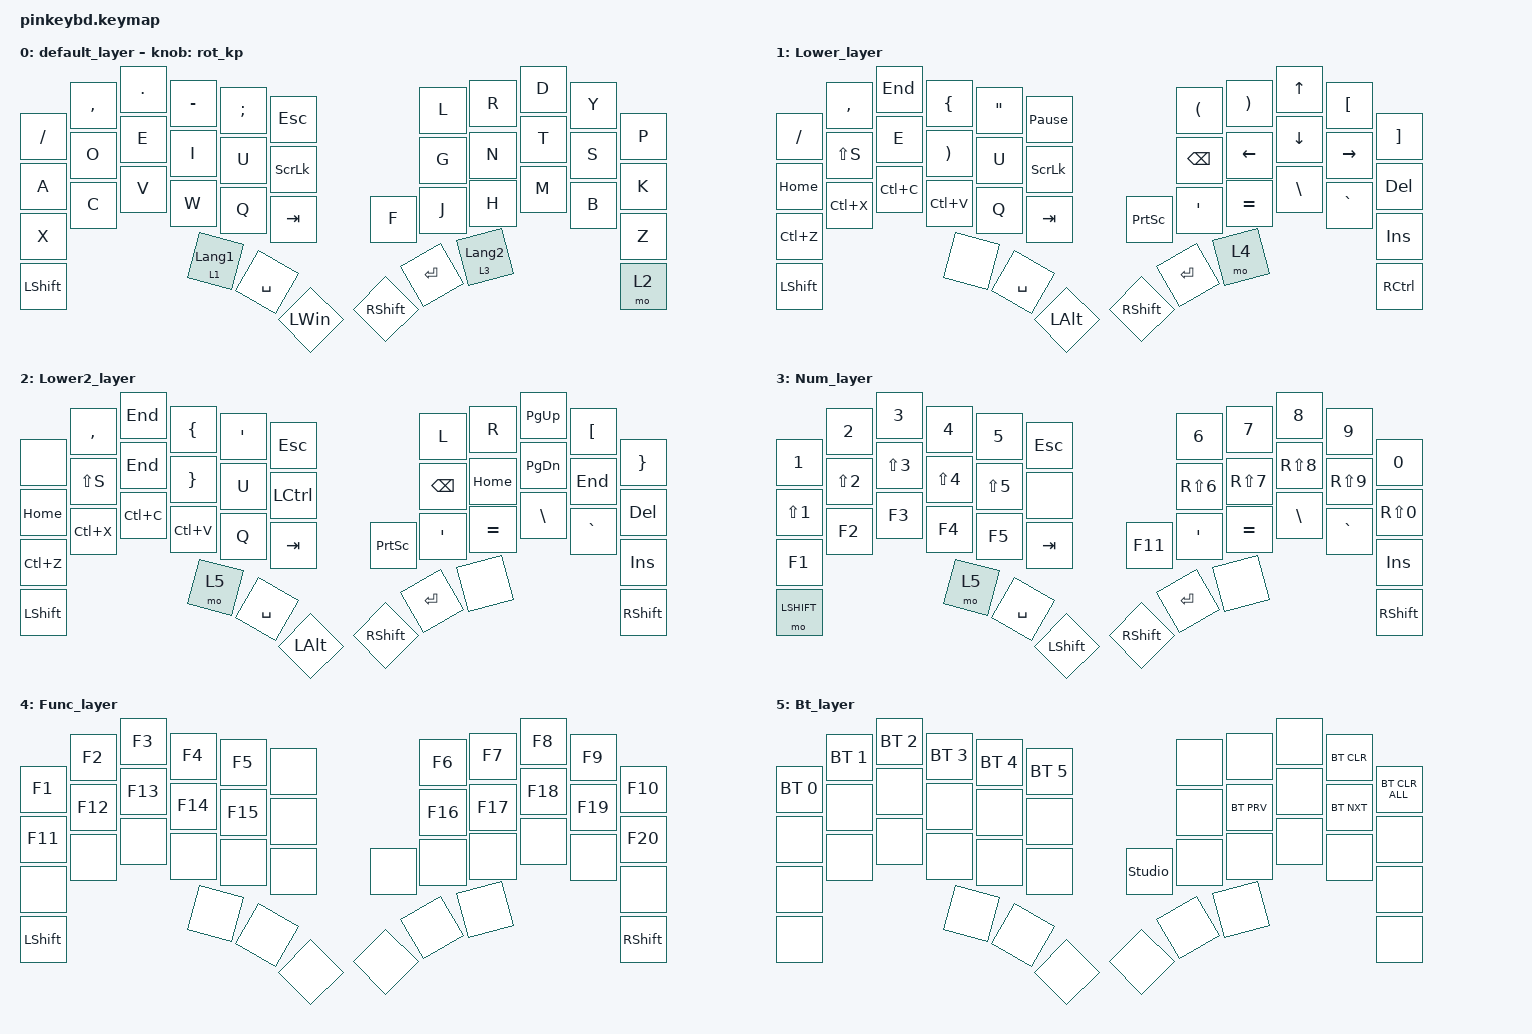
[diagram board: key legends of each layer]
#include <behaviors.dtsi>
#include <behaviors/runtime-sensor-rotate.dtsi>
#include <dt-bindings/zmk/bt.h>
#include <dt-bindings/zmk/keys.h>

#define ZMK_POINTING_DEFAULT_SCRL_VAL 80

&lt {
    tapping-term-ms = <140>;
};

/ {
    behaviors {
        rot_kp: runtime_sensor_rotate_kp {
            compatible = "zmk,behavior-runtime-sensor-rotate";
            #sensor-binding-cells = <0>;
            tap-ms = <5>;
            cw-binding = <&kp PG_DN>;
            ccw-binding = <&kp PG_UP>;
        };
    };

    keymap {
        compatible = "zmk,keymap";

            // ---------------------------------------------------------------------------------------------------------------------------------------------------------------------------------------------------------------
            // |        /       |       ,       |       .       |      -        |      ;       |    ESC         |                   |           |       L      |       R       |       D       |       Y       |      P      |
            // |        A       |       O       |       E       |      I        |      U       |    SCROLLLOCK  |                   |           |       G      |       N       |       T       |       S       |      K      |
            // |        X       |       C       |       V       |      W        |      Q       |    TAB         |                   |     F     |       J      |       H       |       M       |       B       |      Z      |
            // |    L_SHIFT     |               |               |   LOWER / Jp  |    Space     |    LEFT_WIN    |                   |  R_SHIFT  |      ENTER   |  LOWER2 / Ja  |               |               |   FUN_L     |
            // ---------------------------------------------------------------------------------------------------------------------------------------------------------------------------------------------------------------
        default_layer {
            bindings = <
                &kp FSLH     &kp COMMA    &kp DOT      &kp MINUS    &kp SEMI     &kp ESC                            &kp L        &kp R        &kp D        &kp Y        &kp P
                &kp A        &kp O        &kp E        &kp I        &kp U        &kp SCROLLLOCK                     &kp G        &kp N        &kp T        &kp S        &kp K
                &kp X        &kp C        &kp V        &kp W        &kp Q        &kp TAB                            &kp J        &kp H        &kp M        &kp B        &kp Z
                &kp LSHIFT                             &lt 1 LANGUAGE_1 &kp SPACE &kp LEFT_WIN       &kp F      &kp RSHIFT   &kp ENTER    &lt 3 LANGUAGE_2      &mo 2
            >;
            sensor-bindings = <&rot_kp>;
        };
    
            // ----------------------------------------------------------------------------------------------------------------------------------------------------------------------------------------------------------------
            // |    /           |       ,       |       END     |     （        |      ”        |    PAUSE_BREAK|                  |            |      （       |       ）     |        ↑      |        [      |      ]      |
            // |    HOME        |       C_SAVE  |       END     |       ）      |       U       |    SCROLLLOCK |                  |            |   Backspace   |       ←      |        ↓      |        →      |     DEL     |
            // |    UNDO        |       CUT     |       COPY    |       PASTE   |       Q       |    TAB        |                  |   PSCRN    |    ' / "      |    = / +     |    \ / |      |    ` / ~      |    INS      |
            // |    L_SHIFT     |               |               |       none    |    SPACE      |    LALT       |                  |   RSHIFT   |   ENTER       |       FUN_L  |               |               |    RCTRL    |
            // ----------------------------------------------------------------------------------------------------------------------------------------------------------------------------------------------------------------
        Lower_layer {
            bindings = <
                &kp FSLH    &kp COMMA    &kp END        &kp LEFT_BRACE  &kp DOUBLE_QUOTES   &kp PAUSE_BREAK                 &kp LPAR          &kp RPAR      &kp UP       &kp LBKT     &kp RBKT
                &kp HOME    &kp LS(S)    &kp E          &kp RPAR        &kp U               &kp SCROLLLOCK                  &kp BSPC          &kp LEFT      &kp DOWN     &kp RIGHT    &kp DEL
                &kp LC(Z)   &kp LC(X)    &kp LC(C)      &kp LC(V)       &kp Q               &kp TAB                         &kp APOS          &kp EQUAL     &kp BSLH     &kp GRAVE    &kp INS
                &kp LSHIFT                              &none           &kp SPACE           &kp LALT            &kp PSCRN   &kp RSHIFT        &kp ENTER     &mo 4                &kp RCTRL
            >;  
        };

            // -------------------------------------------------------------------------------------------------------------------------------------------------------------------------------------------------------------
            // |    /           |       ,        |       END     |       {       |       ’      |    ESC        |                  |            |      L      |      R         |    PG_UP      |     {       |      }      |
            // |    HOME        |       C_SAVE   |       END     |       }       |       U      |    LCTRL      |                  |            |  Backspace  |    HOME        |    PG_DN      |    END      |    DEL      |
            // |    UNDO        |       CUT      |       COPY    |       PASTE   |       Q      |    TAB        |                  |      F     |    ' / "    |    = / +       |    \ / |      |    ` / ~    |    INS      |
            // |    L_SHIFT     |                |               |       BT_L    |      SPACE   |    LALT       |                  |   ENTER    |    none     |   R_SHIFT      |               |             |   R_SHIFT   |
            // -------------------------------------------------------------------------------------------------------------------------------------------------------------------------------------------------------------
        Lower2_layer {
            bindings = <
                &none        &kp COMMA    &kp END      &kp LEFT_BRACE       &kp SINGLE_QUOTE    &kp ESC                             &kp L           &kp R        &kp PG_UP       &kp LBKT       &kp RBRC
                &kp HOME     &kp LS(S)    &kp END      &kp RIGHT_BRACE      &kp U               &kp LCTRL                           &kp BSPC        &kp HOME     &kp PG_DN       &kp END        &kp DEL
                &kp LC(Z)    &kp LC(X)    &kp LC(C)    &kp LC(V)            &kp Q               &kp TAB                             &kp APOS        &kp EQUAL    &kp BSLH        &kp GRAVE      &kp INS
                &kp LSHIFT                             &mo 5             &kp SPACE           &kp LALT                &kp PSCRN   &kp RSHIFT      &kp ENTER    &none                          &kp RSHIFT
            >;
        };

            // --------------------------------------------------------------------------------------------------------------------------------------------------------------------------------------------------------------
            // |        1       |      2        |       3       |       4       |       5       |    ESC        |               |            |      6       |      7        |       8       |       9       |       0       |
            // |        !       |      @        |       #       |       $       |       %       |    none       |               |            |      ^       |      &        |       *       |       (       |       )       | 
            // |        F1      |     F2        |     F3        |       F4      |       F5      |    TAB        |               |     F11    |    ' / "     |    = / +      |    \ / |      |    ` / ~      |       INS     |
            // |    L_SHIFT     |               |               | En / LOWER    |    Space      |    LSIHT      |               |   R_SHIFT  |      ENTER   |     none      |               |               |       R_SHIFT |
            // --------------------------------------------------------------------------------------------------------------------------------------------------------------------------------------------------------------
        Num_layer {
            bindings = <
                &kp N1       &kp N2       &kp N3       &kp N4       &kp N5      &kp ESC                         &kp N6       &kp N7      &kp N8     &kp N9      &kp N0
                &kp LS(N1)   &kp LS(N2)   &kp LS(N3)   &kp LS(N4)   &kp LS(N5)  &none                           &kp RS(N6)   &kp RS(N7)  &kp RS(N8) &kp RS(N9)  &kp RS(N0)
                &kp F1       &kp F2       &kp F3       &kp F4       &kp F5      &kp TAB                         &kp APOS     &kp EQUAL   &kp BSLH   &kp GRAVE   &kp INS
                &mo LSHIFT                             &mo 5     &kp SPACE   &kp LSHIFT          &kp F11   &kp RSHIFT   &kp ENTER   &none                  &kp RSHIFT
            >;
        };
            // ---------------------------------------------------------------------------------------------------------------------------------------------------------------------------------
            // |     F1      |     F2     |     F3     |     F4     |    F5      |    none    |                |            |    F6      |    F7      |    F8      |    F9       |     F10     |
            // |     F11     |     F12    |     F13    |     F14    |    F15     |    none    |                |   none     |    F16     |    F17     |    F18     |    F19      |     F20     |
            // |     none    |    none    |    none    |    none    |   none     |    none    |                |   none     |    none    |    none    |    none    |    none     |     none    |
            // |     L_SHIFT |    none    |    none    |    none    |   none     |    none    |                |   none     |    none    |    none    |    none    |    none     |     R_SHIFT |
            // ---------------------------------------------------------------------------------------------------------------------------------------------------------------------------------
        Func_layer {
            bindings = <
                &kp F1       &kp F2       &kp F3       &kp F4        &kp F5      &none                        &kp F6       &kp F7       &kp F8     &kp F9      &kp F10
                &kp F11      &kp F12      &kp F13      &kp F14       &kp F15     &none                        &kp F16      &kp F17      &kp F18    &kp F19     &kp F20
                &none        &none        &none        &none         &none       &none                        &none        &none        &none      &none       &none
                &kp LSHIFT                             &none         &none       &none             &none      &none        &none        &none                  &kp RSHIFT
            >;
        };
            // --------------------------------------------------------------------------------------------------------------------------------------------------------------------------------
            // |    none    |    none    |    none    |    none    | Studio Unlock |  none    |                |            |    none    |    none    |    none    |   none     |    none    |
            // |  BT_SEL 0  |  BT_SEL 1  |  BT_SEL 2  |  BT_SEL 3  |   none     |    none    |                  |            |    none    |    none    |    none    |   BT_CLR   | BT_CLR_ALL |
            // |    none    |    none    |    none    |    none    |   none     |    none    |                  |    none    |    none    |   BT_PRV   |    none    |   BT_NXT   |    none    |
            // |    none    |    none    |    none    |    none    |   none     |    none    |                  |    none    |    none    |    none    |    none    |   none     |    none    |
            // --------------------------------------------------------------------------------------------------------------------------------------------------------------------------------
        Bt_layer {
            bindings = <
                &bt BT_SEL 0 &bt BT_SEL 1 &bt BT_SEL 2 &bt BT_SEL 3  &bt BT_SEL 4 &bt BT_SEL 5                  &none        &none        &none        &bt BT_CLR   &bt BT_CLR_ALL
                &none        &none        &none        &none         &none        &none                         &none        &bt BT_PRV   &none        &bt BT_NXT   &none
                &none        &none        &none        &none         &none        &none                         &none        &none        &none        &none        &none
                &none                                  &none         &none        &none             &studio_unlock &none      &none        &none                     &none
            >;
        };
    };
};
